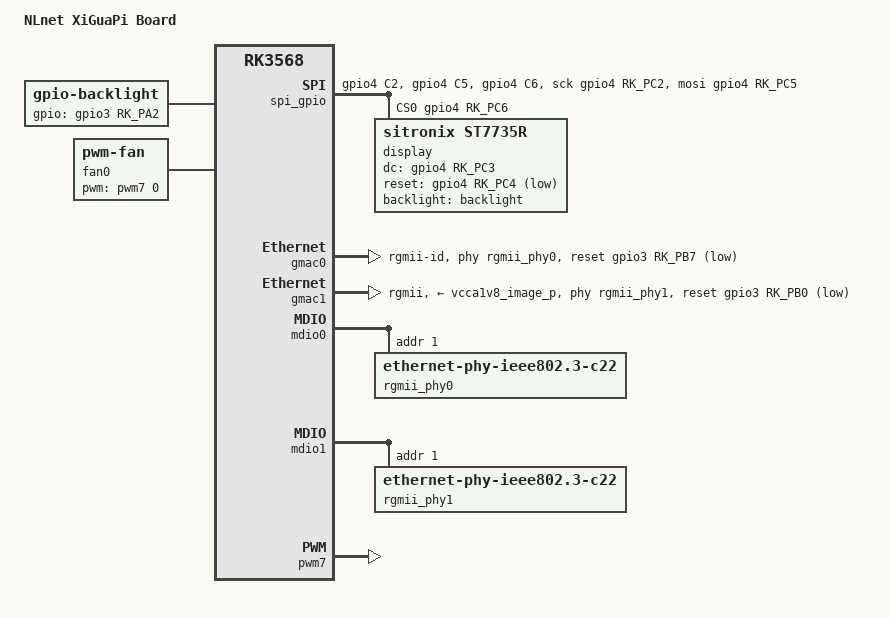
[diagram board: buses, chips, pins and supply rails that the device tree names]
// SPDX-License-Identifier: (GPL-2.0+ OR MIT)

/dts-v1/;

#include "rk3568-nlnet-xgz68.dtsi"

/ {
	model = "NLnet XiGuaPi Board";
	compatible = "nlnet,xgp", "rockchip,rk3568";

	aliases {
		ethernet0 = &gmac0;
		ethernet1 = &gmac1;
		led-boot = &sys_led;
		led-failsafe = &sys_led;
		led-running = &sys_led;
		led-upgrade = &sys_led;
	};

	backlight: backlight {
		compatible = "gpio-backlight";
		pinctrl-names = "default";
		pinctrl-0 = <&backlight_led_pin>;
		gpios = <&gpio3 RK_PA2 GPIO_ACTIVE_HIGH>;
		default-on;
	};

	fan0: pwm-fan {
		compatible = "pwm-fan";
		pinctrl-names = "default";
		#cooling-cells = <2>;
		pwms = <&pwm7 0 40000 0>;
		cooling-levels = <0 50 80 110 140 170 200 230 255>;
	};

	spi_gpio: spi-gpio {
		compatible = "spi-gpio";
		#address-cells = <1>;
		#size-cells = <0>;
		num-chipselects = <1>;
	};
};

&gmac0 {
	assigned-clocks = <&cru SCLK_GMAC0_RX_TX>, <&cru SCLK_GMAC0>;
	assigned-clock-parents = <&cru SCLK_GMAC0_RGMII_SPEED>;
	assigned-clock-rates = <0>, <125000000>;
	clock_in_out = "output";
	phy-mode = "rgmii-id";
	pinctrl-names = "default";
	pinctrl-0 = <&gmac0_miim
			&gmac0_tx_bus2
			&gmac0_rx_bus2
			&gmac0_rgmii_clk
			&gmac0_rgmii_bus>;
	snps,reset-gpio = <&gpio3 RK_PB7 GPIO_ACTIVE_LOW>;
	snps,reset-active-low;
	snps,reset-delays-us = <0 20000 100000>;
	tx_delay = <0x3c>;
	rx_delay = <0x2f>;
	phy-handle = <&rgmii_phy0>;
	status = "okay";
};

&gmac1 {
	assigned-clocks = <&cru SCLK_GMAC1_RX_TX>, <&cru SCLK_GMAC1>;
	assigned-clock-parents = <&cru SCLK_GMAC1_RGMII_SPEED>;
	assigned-clock-rates = <0>, <125000000>;
	clock_in_out = "output";
	phy-mode = "rgmii";
	pinctrl-names = "default";
	pinctrl-0 = <&gmac1m1_miim
			&gmac1m1_tx_bus2
			&gmac1m1_rx_bus2
			&gmac1m1_rgmii_clk
			&gmac1m1_rgmii_bus>;
	snps,reset-gpio = <&gpio3 RK_PB0 GPIO_ACTIVE_LOW>;
	snps,reset-active-low;
	snps,reset-delays-us = <0 20000 100000>;
	tx_delay = <0x3c>;
	rx_delay = <0x2f>;
	phy-handle = <&rgmii_phy1>;
	phy-supply = <&vcca1v8_image_p>;
	status = "okay";
};

&mdio0 {
	rgmii_phy0: ethernet-phy@0 {
		compatible = "ethernet-phy-ieee802.3-c22";
		reg = <0x1>;
	};
};

&mdio1 {
	rgmii_phy1: ethernet-phy@0 {
		compatible = "ethernet-phy-ieee802.3-c22";
		reg = <0x1>;
	};
};

&spi3 {
	pinctrl-names = "default";
	pinctrl-0 = <&spi3m1_cs0 &spi3_sck &spi3_mosi>;
	status = "disabled";

	display@0 {
		pinctrl-names = "default";
		pinctrl-0 = <&spi3_display_dc_pin &display_reset_pin>;
		compatible = "sitronix,st7735r";
		reg = <0>;
		rotate = <0>;
		dc-gpios = <&gpio4 RK_PC5 GPIO_ACTIVE_HIGH>;
		reset-gpios = <&gpio4 RK_PC4 GPIO_ACTIVE_LOW>;
		backlight = <&backlight>;
		buswidth = <8>;
		debug = <0x0>;
		status = "okay";
	};
};

&spi_gpio {
	pinctrl-names = "default";
	pinctrl-0 = <&spi_gpio_sck &spi_gpio_mosi &spi_gpio_cs>;
	sck-gpios = <&gpio4 RK_PC2 GPIO_ACTIVE_HIGH>;
	mosi-gpios = <&gpio4 RK_PC5 GPIO_ACTIVE_HIGH>;
	cs-gpios = <&gpio4 RK_PC6 GPIO_ACTIVE_HIGH>;
	status = "okay";

	display@0 {
		pinctrl-names = "default";
		pinctrl-0 = <&display_dc_pin &display_reset_pin>;
		compatible = "sitronix,st7735r";
		reg = <0>;
		rotate = <0>;
		dc-gpios = <&gpio4 RK_PC3 GPIO_ACTIVE_HIGH>;
		reset-gpios = <&gpio4 RK_PC4 GPIO_ACTIVE_LOW>;
		backlight = <&backlight>;
		buswidth = <8>;
		debug = <0x0>;
		status = "okay";
	};
};

&pinctrl {
	spi_gpio {
		spi_gpio_sck: spi_gpio_sck {
			rockchip,pins = <4 RK_PC2 RK_FUNC_GPIO &pcfg_pull_none>;
		};
		spi_gpio_mosi: spi_gpio_mosi {
			rockchip,pins = <4 RK_PC5 RK_FUNC_GPIO &pcfg_pull_none>;
		};
		spi_gpio_cs: spi_gpio_cs {
			rockchip,pins = <4 RK_PC6 RK_FUNC_GPIO &pcfg_pull_up>;
		};
	};

	spi3 {
		spi3_sck: spi3_sck {
			rockchip,pins = <4 RK_PC2 2 &pcfg_pull_none>;
		};
		spi3_mosi: spi3_mosi {
			rockchip,pins = <4 RK_PC3 2 &pcfg_pull_none>;
		};
	};

	display {
		spi3_display_dc_pin: spi3_display_dc_pin {
			rockchip,pins = <4 RK_PC5 RK_FUNC_GPIO &pcfg_pull_none>;
		};
		display_dc_pin: display_dc_pin {
			rockchip,pins = <4 RK_PC3 RK_FUNC_GPIO &pcfg_pull_none>;
		};
		display_reset_pin: display_reset_pin {
			rockchip,pins = <4 RK_PC4 RK_FUNC_GPIO &pcfg_pull_none>;
		};
	};

	backlight {
		backlight_led_pin: backlight-led-pin {
			rockchip,pins = <3 RK_PA2 RK_FUNC_GPIO &pcfg_pull_none>;
		};
	};

	pwmfan {
		pwm_fan_sense_pin: pwm-fan-sense-pin {
			rockchip,pins = <0 RK_PC4 RK_FUNC_GPIO &pcfg_pull_up>;
		};
	};
};

&pwm7 {
	status = "okay";
	pinctrl-0 = <&pwm7_pins>;
	pinctrl-names = "default";
};

&cpu_thermal {
	trips {
		cpu_idle: cpu_idle {
			temperature = <20000>;
			hysteresis = <5000>;
			type = "passive";
		};
		cpu_low: cpu_low {
			temperature = <40000>;
			hysteresis = <5000>;
			type = "active";
		};
		cpu_warm: cpu_warm {
			temperature = <50000>;
			hysteresis = <5000>;
			type = "active";
		};
		cpu_hot: cpu_hot {
			temperature = <60000>;
			hysteresis = <5000>;
			type = "active";
		};
		cpu_hall: cpu_hall {
			temperature = <70000>;
			hysteresis = <5000>;
			type = "active";
		};
	};

	cooling-maps {
		map0 {
			trip = <&cpu_idle>;
			cooling-device = <&fan0 0 1>;
		};
		map1 {
			trip = <&cpu_low>;
			cooling-device = <&fan0 1 3>;
		};
		map2 {
			trip = <&cpu_warm>;
			cooling-device = <&fan0 3 5>;
		};
		map3 {
			trip = <&cpu_hot>;
			cooling-device = <&fan0 5 7>;
		};
		map4 {
			trip = <&cpu_hall>;
			cooling-device = <&fan0 7 THERMAL_NO_LIMIT>;
		};
	};
};
